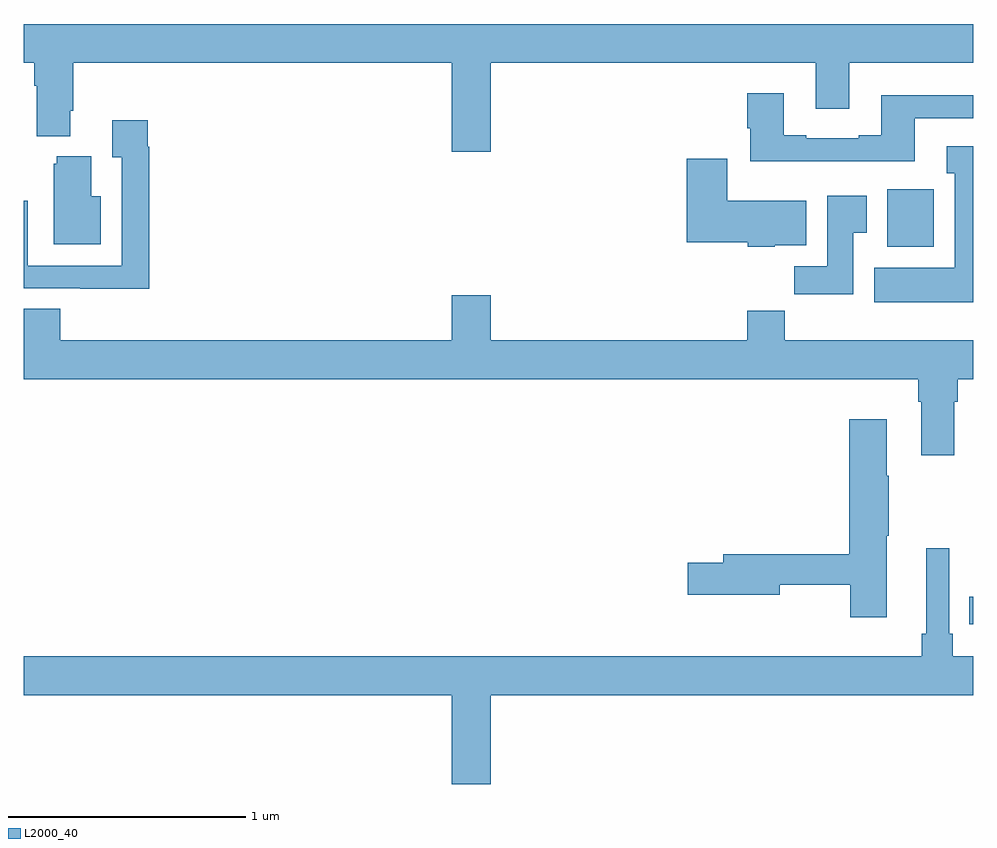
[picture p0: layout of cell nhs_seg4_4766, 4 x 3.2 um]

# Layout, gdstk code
import gdstk
lib = gdstk.Library(unit=1e-6, precision=1e-09)
def R(c, l, rs):  # rectangles x0, y0, x1, y1
    for r in rs: c.add(gdstk.rectangle(r[:2], r[2:], *l))
def P(c, l, *ps):  # polygons
    for p in ps: c.add(gdstk.Polygon(p, *l))
L2000_40 = (2000, 40)

nhs_seg4_4766 = lib.new_cell('nhs_seg4_4766')
R(nhs_seg4_4766, L2000_40, [(370.984,815.766,371,815.882), (370.637,817.358,370.834,817.6)])
P(nhs_seg4_4766, L2000_40, [(368.968,818.132),(370.337,818.132),(370.337,817.938),(370.477,817.938),(370.477,818.132),(371,818.132),(371,818.296),(367,818.296),(367,818.132),(367.043,818.132),(367.043,818.036),(367.055,818.036),(367.055,817.823),(367.195,817.823),(367.195,817.93),(367.208,817.93),(367.208,818.132),(368.804,818.132),(368.804,817.758),(368.968,817.758)],
  [(370.753,817.899),(371,817.899),(371,817.996),(370.613,817.996),(370.613,817.828),(370.517,817.828),(370.517,817.815),(370.297,817.815),(370.297,817.828),(370.201,817.828),(370.201,818.005),(370.049,818.005),(370.049,817.857),(370.061,817.857),(370.061,817.718),(370.753,817.718)],
  [(367.529,817.778),(367.522,817.778),(367.522,817.891),(367.373,817.891),(367.373,817.735),(367.413,817.735),(367.413,817.278),(367.017,817.278),(367.017,817.552),(367,817.552),(367,817.182),(367.237,817.182),(367.237,817.181),(367.529,817.181)],
  [(371,817.78),(370.889,817.78),(370.889,817.667),(370.922,817.667),(370.922,817.27),(370.583,817.27),(370.583,817.124),(371,817.124)],
  [(367.324,817.57),(367.285,817.57),(367.285,817.738),(367.139,817.738),(367.139,817.707),(367.127,817.707),(367.127,817.367),(367.324,817.367)],
  [(370.164,817.364),(370.297,817.364),(370.297,817.552),(369.964,817.552),(369.964,817.729),(369.794,817.729),(369.794,817.376),(370.05,817.376),(370.05,817.358),(370.164,817.358)],
  [(370.495,817.417),(370.552,817.417),(370.552,817.573),(370.385,817.573),(370.385,817.276),(370.246,817.276),(370.246,817.158),(370.495,817.158)],
  [(370.921,816.704),(370.934,816.704),(370.934,816.8),(371,816.8),(371,816.964),(370.205,816.964),(370.205,817.088),(370.049,817.088),(370.049,816.964),(368.968,816.964),(368.968,817.153),(368.804,817.153),(368.804,816.964),(367.154,816.964),(367.154,817.097),(367,817.097),(367,816.8),(370.769,816.8),(370.769,816.704),(370.781,816.704),(370.781,816.48),(370.921,816.48)],
  [(370.636,816.139),(370.644,816.139),(370.644,816.392),(370.636,816.392),(370.636,816.631),(370.478,816.631),(370.478,816.062),(369.947,816.062),(369.947,816.026),(369.798,816.026),(369.798,815.891),(370.186,815.891),(370.186,815.934),(370.483,815.934),(370.483,815.796),(370.636,815.796)],
  [(368.968,815.468),(371,815.468),(371,815.632),(370.913,815.632),(370.913,815.728),(370.899,815.728),(370.899,816.088),(370.802,816.088),(370.802,815.728),(370.783,815.728),(370.783,815.632),(367,815.632),(367,815.468),(368.804,815.468),(368.804,815.094),(368.968,815.094)])

lib.write_gds('nhs_seg4_4766.gds')
